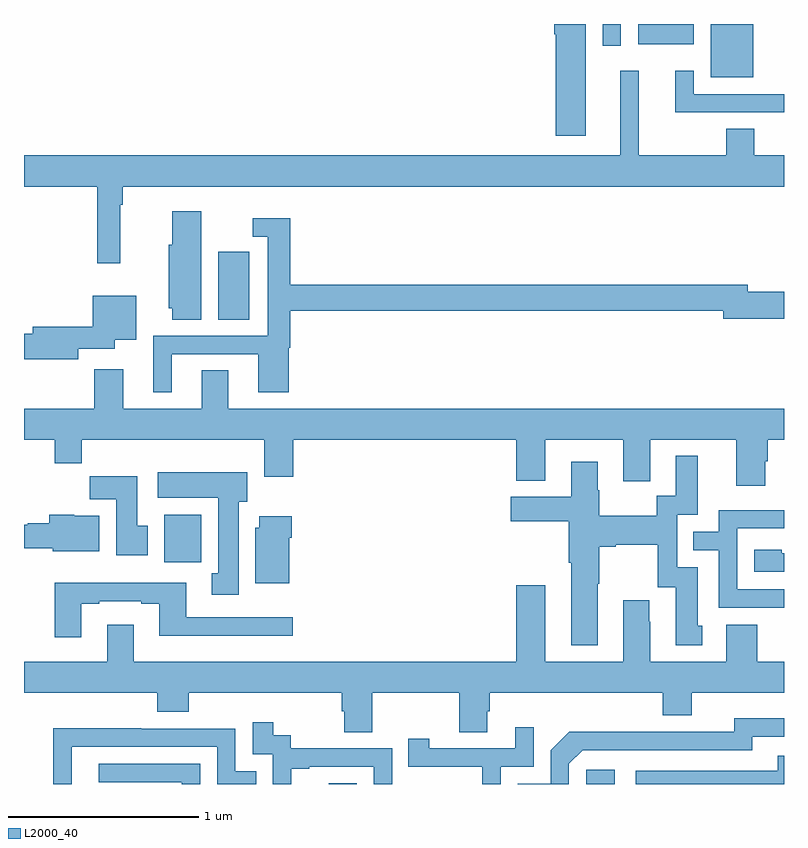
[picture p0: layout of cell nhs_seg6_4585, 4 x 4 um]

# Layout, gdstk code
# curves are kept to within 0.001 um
import gdstk
lib = gdstk.Library(unit=1e-6, precision=1e-09)
def R(c, l, rs):  # rectangles x0, y0, x1, y1
    for r in rs: c.add(gdstk.rectangle(r[:2], r[2:], *l))
def P(c, l, *ps):  # polygons
    for p in ps: c.add(gdstk.Polygon(p, *l))
L2000_40 = (2000, 40)

nhs_seg6_4585 = lib.new_cell('nhs_seg6_4585')
R(nhs_seg6_4585, L2000_40, [(382.605,969.5,382.752,969.505), (383.958,969.5,384.109,969.574), (381.737,970.668,381.933,970.918), (382.022,971.944,382.186,972.301), (384.614,973.22,384.838,973.5), (384.045,973.386,384.141,973.5), (384.233,973.394,384.526,973.5)])
P(nhs_seg6_4585, L2000_40, [(383.956,973.5),(383.792,973.5),(383.792,973.446),(383.798,973.446),(383.798,972.912),(383.956,972.912)],
  [(385,972.808),(384.844,972.808),(384.844,972.95),(384.697,972.95),(384.697,972.808),(384.236,972.808),(384.236,973.255),(384.137,973.255),(384.137,972.808),(381,972.808),(381,972.644),(381.385,972.644),(381.385,972.24),(381.506,972.24),(381.506,972.548),(381.521,972.548),(381.521,972.644),(385,972.644)],
  [(385,973.131),(384.525,973.131),(384.525,973.255),(384.428,973.255),(384.428,973.035),(385,973.035)],
  [(381.934,972.514),(381.779,972.514),(381.779,972.339),(381.761,972.339),(381.761,972.003),(381.779,972.003),(381.779,971.944),(381.934,971.944)],
  [(381.778,971.763),(382.232,971.763),(382.232,971.562),(382.394,971.562),(382.394,971.795),(382.4,971.795),(382.4,971.992),(384.68,971.992),(384.68,971.95),(385,971.95),(385,972.092),(384.808,972.092),(384.808,972.128),(382.4,972.128),(382.4,972.478),(382.203,972.478),(382.203,972.381),(382.284,972.381),(382.284,971.859),(381.68,971.859),(381.68,971.562),(381.778,971.562)],
  [(381.286,971.79),(381.478,971.79),(381.478,971.837),(381.592,971.837),(381.592,972.07),(381.362,972.07),(381.362,971.906),(381.047,971.906),(381.047,971.87),(381,971.87),(381,971.735),(381.286,971.735)],
  [(384.901,971.199),(384.914,971.199),(384.914,971.312),(385,971.312),(385,971.476),(382.075,971.476),(382.075,971.678),(381.935,971.678),(381.935,971.476),(381.523,971.476),(381.523,971.683),(381.371,971.683),(381.371,971.476),(381,971.476),(381,971.312),(381.161,971.312),(381.161,971.188),(381.305,971.188),(381.305,971.312),(382.265,971.312),(382.265,971.118),(382.418,971.118),(382.418,971.312),(383.591,971.312),(383.591,971.096),(383.743,971.096),(383.743,971.312),(384.155,971.312),(384.155,971.094),(384.295,971.094),(384.295,971.312),(384.749,971.312),(384.749,971.07),(384.901,971.07)],
  [(384.019,970.555),(384.027,970.555),(384.027,970.748),(384.115,970.748),(384.115,970.76),(384.335,970.76),(384.335,970.536),(384.431,970.536),(384.431,970.23),(384.571,970.23),(384.571,970.332),(384.547,970.332),(384.547,970.641),(384.438,970.641),(384.438,970.917),(384.547,970.917),(384.547,971.227),(384.431,971.227),(384.431,971.018),(384.33,971.018),(384.33,970.912),(384.027,970.912),(384.027,971.046),(384.019,971.046),(384.019,971.197),(383.879,971.197),(383.879,971.011),(383.562,971.011),(383.562,970.882),(383.867,970.882),(383.867,970.664),(383.879,970.664),(383.879,970.229),(384.019,970.229)],
  [(382.129,970.986),(382.174,970.986),(382.174,971.14),(381.705,971.14),(381.705,971.006),(382.022,971.006),(382.022,970.609),(381.989,970.609),(381.989,970.497),(382.129,970.497)],
  [(381.652,970.86),(381.595,970.86),(381.595,971.119),(381.346,971.119),(381.346,971),(381.485,971),(381.485,970.704),(381.652,970.704)],
  [(385,970.524),(384.753,970.524),(384.753,970.845),(385,970.845),(385,970.941),(384.657,970.941),(384.657,970.827),(384.523,970.827),(384.523,970.731),(384.657,970.731),(384.657,970.428),(385,970.428)],
  [(381.397,970.912),(381.264,970.912),(381.264,970.918),(381.134,970.918),(381.134,970.872),(381.02,970.872),(381.02,970.864),(381,970.864),(381,970.742),(381.15,970.742),(381.15,970.724),(381.397,970.724)],
  [(382.396,970.796),(382.409,970.796),(382.409,970.909),(382.238,970.909),(382.238,970.848),(382.217,970.848),(382.217,970.556),(382.396,970.556)],
  [(385,970.714),(384.987,970.714),(384.987,970.732),(384.843,970.732),(384.843,970.617),(385,970.617)],
  [(381.301,970.449),(381.397,970.449),(381.397,970.461),(381.617,970.461),(381.617,970.449),(381.713,970.449),(381.713,970.28),(382.414,970.28),(382.414,970.377),(381.853,970.377),(381.853,970.558),(381.161,970.558),(381.161,970.272),(381.301,970.272)],
  [(382.833,969.98),(383.29,969.98),(383.29,969.772),(383.437,969.772),(383.437,969.882),(383.45,969.882),(383.45,969.98),(384.362,969.98),(384.362,969.863),(384.514,969.863),(384.514,969.98),(385,969.98),(385,970.144),(384.859,970.144),(384.859,970.339),(384.695,970.339),(384.695,970.144),(384.295,970.144),(384.295,970.355),(384.292,970.355),(384.292,970.468),(384.155,970.468),(384.155,970.144),(383.743,970.144),(383.743,970.546),(383.591,970.546),(383.591,970.144),(381.577,970.144),(381.577,970.339),(381.437,970.339),(381.437,970.144),(381,970.144),(381,969.98),(381.701,969.98),(381.701,969.881),(381.866,969.881),(381.866,969.98),(382.673,969.98),(382.673,969.882),(382.685,969.882),(382.685,969.772),(382.833,969.772)],
  [(383.868,969.606),(383.94,969.678),(384.834,969.678),(384.834,969.75),(385,969.75),(385,969.847),(384.738,969.847),(384.738,969.774),(384.278,969.774),(384.278,969.776),(383.87,969.776),(383.772,969.678),(383.772,969.501),(383.598,969.501),(383.868,969.5)],
  [(382.406,969.579),(382.501,969.579),(382.501,969.591),(382.842,969.591),(382.842,969.5),(382.938,969.5),(382.938,969.687),(382.404,969.687),(382.404,969.756),(382.312,969.756),(382.312,969.826),(382.203,969.826),(382.203,969.657),(382.308,969.657),(382.308,969.5),(382.406,969.5)],
  [(383.508,969.591),(383.682,969.591),(383.682,969.799),(383.585,969.799),(383.585,969.687),(383.134,969.687),(383.134,969.739),(383.023,969.739),(383.023,969.591),(383.412,969.591),(383.412,969.5),(383.508,969.5)],
  [(381.252,969.696),(382.017,969.696),(382.017,969.5),(382.223,969.5),(382.223,969.567),(382.113,969.567),(382.113,969.792),(381.617,969.792),(381.617,969.794),(381.154,969.794),(381.154,969.5),(381.252,969.5)],
  [(385,969.649),(384.967,969.649),(384.967,969.57),(384.219,969.57),(384.219,969.5),(385,969.5)],
  [(381.927,969.606),(381.393,969.606),(381.393,969.51),(381.831,969.51),(381.831,969.5),(381.927,969.5)])

lib.write_gds('nhs_seg6_4585.gds')
